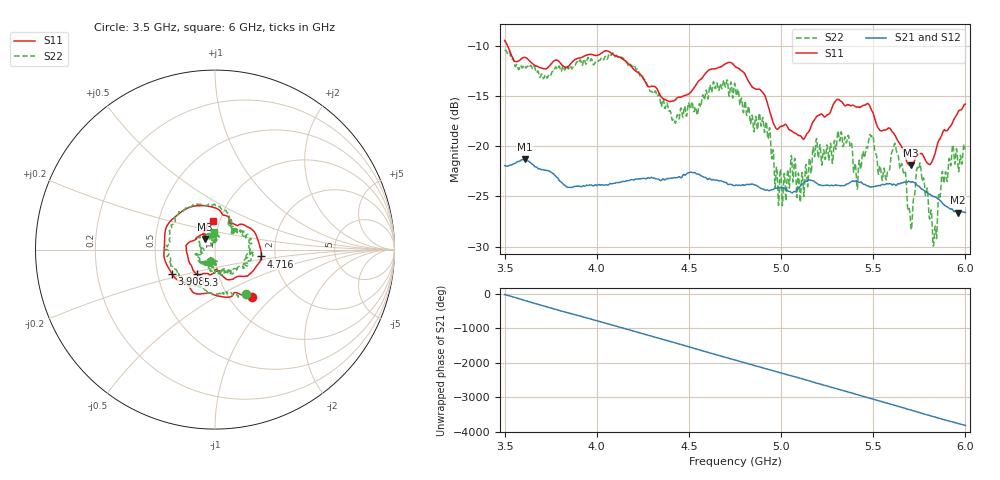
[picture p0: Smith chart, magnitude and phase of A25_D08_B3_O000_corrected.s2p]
! Created with skrf 1.9.0 (http://scikit-rf.org).
# Hz S RI R 50.0
!freq ReS11 ImS11 ReS21 ImS21 ReS12 ImS12 ReS22 ImS22
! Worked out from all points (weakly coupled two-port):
!   1601 points, 3.5 GHz to 6 GHz, reference 50 ohm
!   highest |S21| = -21.32 dB at 3.609 GHz (marker M1); lowest = -26.6 dB at 5.959 GHz (marker M2)
!   lowest |S11| = -21.9 dB at 5.705 GHz (marker M3), VSWR 1.17, Z = 44.6 + j5.34 ohm
!   |S11| at or under -10 dB: 3.516 GHz to end of sweep
!   |S22| runs from -30.0 to -10.5 dB; largest |S21 - S12| = 0.001
!   S11 on the Smith chart (normalised r, x): 3.5 GHz: 1.27, -0.76; 3.908 GHz: 0.59, -0.17; 4.716 GHz: 1.69, -0.14; 5.3 GHz: 0.79, -0.23; 6 GHz: 0.93, +0.31
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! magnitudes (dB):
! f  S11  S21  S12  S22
! 3.5 GHz  -9.5  -21.9  -21.9  -10.5
! 3.609 GHz  -11.2  -21.3  -21.3  -12.0
! 3.908 GHz  -11.2  -24.0  -24.0  -11.4
! 3.917 GHz  -11.2  -24.0  -24.0  -11.8
! 4.334 GHz  -14.6  -23.3  -23.2  -14.8
! 4.42 GHz  -15.5  -23.1  -23.1  -17.3
! 4.716 GHz  -11.7  -23.8  -23.9  -14.8
! 4.75 GHz  -12.0  -23.9  -23.9  -13.8
! 4.928 GHz  -15.9  -24.4  -24.4  -19.3
! 4.997 GHz  -18.1  -24.1  -24.1  -22.3
! 5.167 GHz  -17.8  -23.4  -23.4  -21.8
! 5.3 GHz  -15.4  -23.9  -23.9  -20.1
! 5.406 GHz  -16.1  -23.5  -23.4  -22.4
! 5.489 GHz  -16.3  -24.1  -24.0  -19.0
! 5.584 GHz  -18.2  -23.8  -23.7  -22.4
! 5.623 GHz  -19.1  -23.9  -23.9  -20.3
! 5.705 GHz  -21.9  -23.6  -23.6  -28.2
! 5.748 GHz  -20.8  -24.0  -24.0  -22.1
! 5.834 GHz  -20.8  -25.1  -25.0  -28.1
! 5.88 GHz  -18.5  -25.8  -25.7  -23.3
! 5.959 GHz  -16.6  -26.6  -26.6  -21.8
! 6 GHz  -15.8  -26.6  -26.6  -20.3
